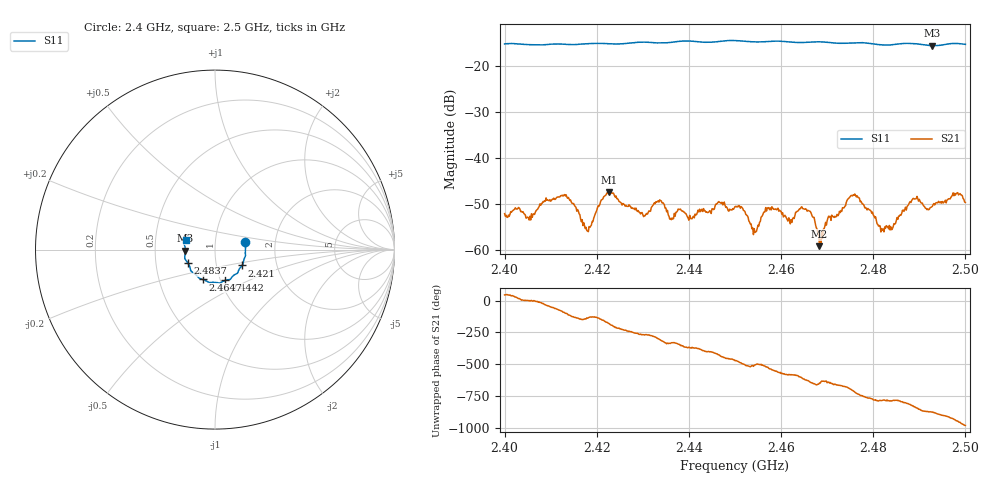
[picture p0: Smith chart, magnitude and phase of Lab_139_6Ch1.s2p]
# Hz S RI R 50
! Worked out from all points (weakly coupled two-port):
!   601 points, 2.4 GHz to 2.5 GHz, reference 50 ohm
!   highest |S21| = -47.37 dB at 2.4227 GHz (marker M1); lowest = -59.1 dB at 2.4683 GHz (marker M2)
!   lowest |S11| = -15.6 dB at 2.4928 GHz (marker M3), VSWR 1.40, Z = 35.8 - j0.388 ohm
!   |S11| at or under -10 dB: start of sweep to end of sweep
!   S12 and S22 are empty: the file has one direction only
!   S11 on the Smith chart (normalised r, x): 2.4 GHz: 1.40, +0.12; 2.421 GHz: 1.33, -0.24; 2.4442 GHz: 1.05, -0.37; 2.4647 GHz: 0.83, -0.29; 2.4837 GHz: 0.73, -0.11; 2.5 GHz: 0.72, +0.08
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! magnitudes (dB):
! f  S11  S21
! 2.4 GHz  -15.2  -52.1
! 2.4128 GHz  -15.3  -48.1
! 2.4167 GHz  -15.3  -53.8
! 2.4183 GHz  -15.2  -54.9
! 2.421 GHz  -15.1  -49.1
! 2.4227 GHz  -15.2  -47.4
! 2.43 GHz  -14.8  -52.3
! 2.4333 GHz  -15.0  -49.3
! 2.4362 GHz  -14.9  -53.4
! 2.4442 GHz  -14.9  -51.8
! 2.45 GHz  -14.5  -50.5
! 2.4542 GHz  -14.8  -55.3
! 2.4572 GHz  -14.7  -50.8
! 2.4647 GHz  -14.9  -50.9
! 2.4667 GHz  -14.8  -52.4
! 2.4683 GHz  -14.8  -59.1
! 2.4757 GHz  -15.0  -48.0
! 2.4833 GHz  -15.5  -55.3
! 2.4837 GHz  -15.4  -55.6
! 2.489 GHz  -15.2  -48.9
! 2.4928 GHz  -15.6  -50.5
! 2.5 GHz  -15.3  -49.6
